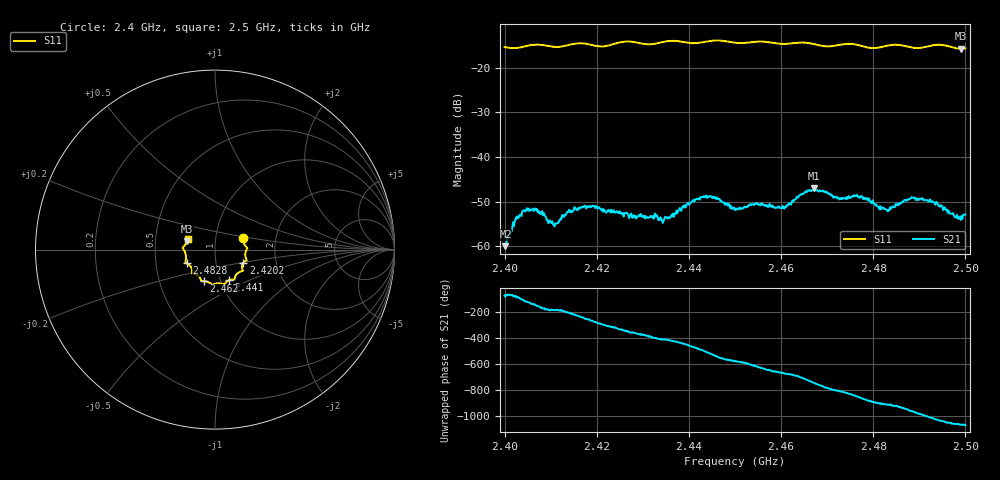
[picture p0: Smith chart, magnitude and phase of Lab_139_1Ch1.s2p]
# Hz S RI R 50
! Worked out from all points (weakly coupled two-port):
!   601 points, 2.4 GHz to 2.5 GHz, reference 50 ohm
!   highest |S21| = -47.03 dB at 2.4672 GHz (marker M1); lowest = -60.0 dB at 2.4002 GHz (marker M2)
!   lowest |S11| = -15.8 dB at 2.499 GHz (marker M3), VSWR 1.39, Z = 36.4 + j3.54 ohm
!   |S11| at or under -10 dB: start of sweep to end of sweep
!   S12 and S22 are empty: the file has one direction only
!   S11 on the Smith chart (normalised r, x): 2.4 GHz: 1.36, +0.17; 2.4202 GHz: 1.36, -0.20; 2.441 GHz: 1.10, -0.39; 2.462 GHz: 0.84, -0.30; 2.4828 GHz: 0.72, -0.11; 2.5 GHz: 0.73, +0.09
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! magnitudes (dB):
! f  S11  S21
! 2.4 GHz  -15.4  -59.5
! 2.4002 GHz  -15.4  -60.0
! 2.4023 GHz  -15.7  -54.1
! 2.4043 GHz  -15.3  -51.9
! 2.4072 GHz  -14.9  -52.3
! 2.411 GHz  -15.4  -54.9
! 2.4167 GHz  -14.6  -51.3
! 2.4202 GHz  -15.2  -51.5
! 2.4333 GHz  -14.5  -54.1
! 2.4362 GHz  -14.0  -53.1
! 2.441 GHz  -14.5  -49.6
! 2.4448 GHz  -14.0  -48.8
! 2.45 GHz  -14.4  -51.9
! 2.462 GHz  -14.6  -50.5
! 2.4667 GHz  -14.6  -47.5
! 2.4672 GHz  -14.8  -47.0
! 2.477 GHz  -15.0  -48.9
! 2.4828 GHz  -15.1  -51.8
! 2.4833 GHz  -15.0  -51.8
! 2.4887 GHz  -15.6  -49.1
! 2.499 GHz  -15.8  -54.1
! 2.5 GHz  -15.7  -52.9
